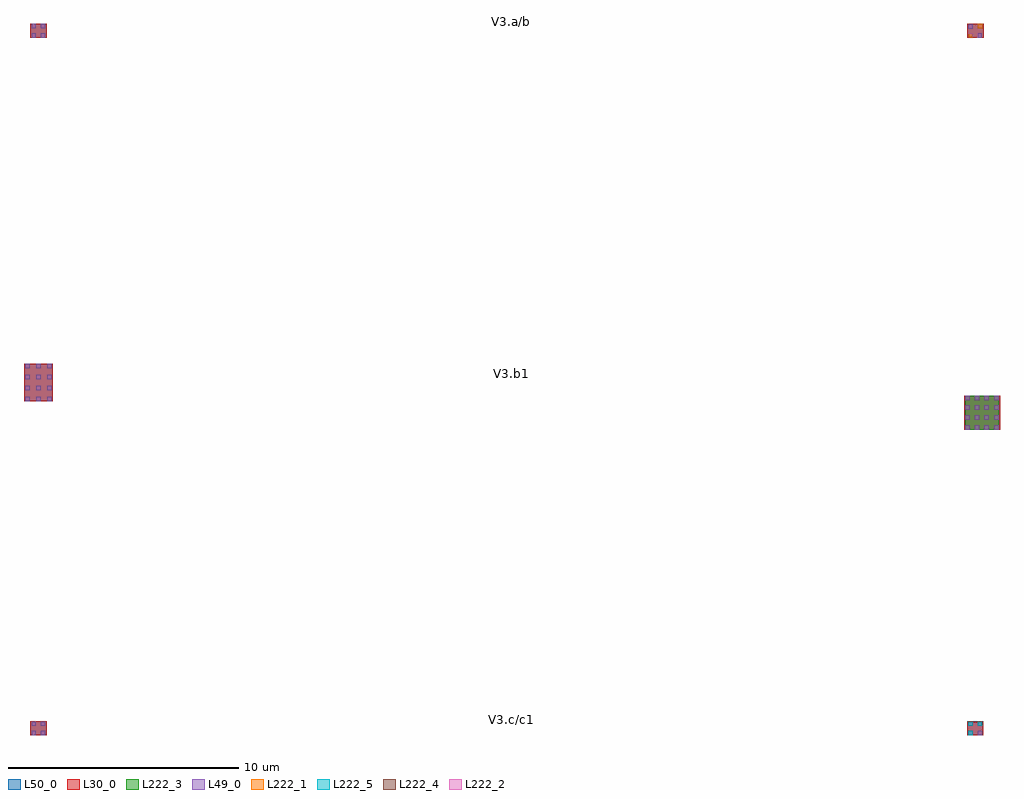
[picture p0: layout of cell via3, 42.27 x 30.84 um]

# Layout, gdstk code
import gdstk
lib = gdstk.Library(unit=1e-6, precision=1e-09)
def R(c, l, rs):  # rectangles x0, y0, x1, y1
    for r in rs: c.add(gdstk.rectangle(r[:2], r[2:], *l))
def A(c, l, x, y, w, h, nx, ny, dx, dy):  # array of equal rectangles
    R(c, l, [(x+i*dx, y+j*dy, x+i*dx+w, y+j*dy+h) for i in range(nx) for j in range(ny)])
def P(c, l, *ps):  # polygons
    for p in ps: c.add(gdstk.Polygon(p, *l))
L30_0 = (30, 0)
L49_0 = (49, 0)
L50_0 = (50, 0)
L222_1 = (222, 1)
L222_2 = (222, 2)
L222_3 = (222, 3)
L222_4 = (222, 4)
L222_5 = (222, 5)

via3 = lib.new_cell('via3')
R(via3, L30_0, [(-20.82,-38.155,-20.12,-37.545), (19.76,-38.155,20.455,-37.55), (19.625,-24.92,21.175,-23.435), (-21.095,-23.69,-19.845,-22.05), (-20.82,-7.945,-20.12,-7.335), (19.755,-7.945,20.47,-7.32)])
A(via3, L49_0, 19.675, -24.915, 0.19, 0.19, 3, 3, 0.41, 0.435)
A(via3, L49_0, 20.935, -24.915, 0.19, 0.19, 1, 3, 0, 0.435)
A(via3, L49_0, -21.045, -23.685, 0.19, 0.19, 3, 4, 0.48, 0.48)
A(via3, L49_0, 19.675, -23.63, 0.19, 0.19, 3, 1, 0.41, 0)
R(via3, L49_0, [(-20.77,-38.15,-20.58,-37.96), (-20.36,-38.15,-20.17,-37.96), (19.805,-38.15,19.995,-37.96), (20.215,-38.15,20.405,-37.96), (-20.77,-37.74,-20.58,-37.55), (-20.36,-37.74,-20.17,-37.55), (19.805,-37.74,19.995,-37.55), (20.215,-37.74,20.405,-37.55), (20.935,-23.63,21.125,-23.44), (-20.77,-7.94,-20.58,-7.75), (-20.36,-7.94,-20.17,-7.75), (20.205,-7.94,20.395,-7.75), (19.815,-7.925,19.995,-7.75), (19.805,-7.55,19.995,-7.36), (-20.77,-7.53,-20.58,-7.34), (-20.36,-7.53,-20.17,-7.34), (20.215,-7.53,20.42,-7.325)])
R(via3, L50_0, [(-20.82,-38.155,-20.12,-37.545), (19.76,-38.155,20.455,-37.545), (19.625,-24.92,21.175,-23.435), (-21.095,-23.69,-19.845,-22.05), (-20.82,-7.945,-20.12,-7.335), (19.755,-7.945,20.47,-7.32)])
R(via3, L222_1, [(19.815,-7.925,19.995,-7.75), (19.815,-7.925,19.995,-7.75), (20.215,-7.53,20.42,-7.325), (20.215,-7.53,20.42,-7.325)])
R(via3, L222_2, [(20.2,-7.94,20.21,-7.75), (19.99,-7.925,20,-7.75), (19.815,-7.755,19.995,-7.745), (19.805,-7.555,19.995,-7.545)])
A(via3, L222_3, 19.675, -24.915, 0.19, 0.19, 3, 2, 0.41, 1.285)
A(via3, L222_3, 20.935, -24.915, 0.19, 0.19, 1, 3, 0, 0.435)
R(via3, L222_3, [(19.675,-24.48,19.865,-24.29), (20.085,-24.48,20.275,-24.29), (20.085,-24.48,20.275,-24.29), (20.495,-24.48,20.685,-24.29), (20.495,-24.48,20.685,-24.29), (19.675,-24.045,19.865,-23.855), (20.085,-24.045,20.275,-23.855), (20.085,-24.045,20.275,-23.855), (20.495,-24.045,20.685,-23.855), (20.495,-24.045,20.685,-23.855), (20.935,-23.63,21.125,-23.44)])
P(via3, L222_3, [(19.865,-24.915),(19.865,-24.725),(19.675,-24.725),(19.675,-24.48),(19.865,-24.48),(19.865,-24.29),(19.675,-24.29),(19.675,-24.045),(19.865,-24.045),(19.865,-23.855),(19.675,-23.855),(19.675,-23.63),(19.865,-23.63),(19.865,-23.44),(20.085,-23.44),(20.085,-23.63),(20.275,-23.63),(20.275,-23.44),(20.495,-23.44),(20.495,-23.63),(20.685,-23.63),(20.685,-23.44),(20.935,-23.44),(20.935,-23.63),(21.125,-23.63),(21.125,-23.855),(20.935,-23.855),(20.935,-24.045),(21.125,-24.045),(21.125,-24.29),(20.935,-24.29),(20.935,-24.48),(21.125,-24.48),(21.125,-24.725),(20.935,-24.725),(20.935,-24.915),(20.685,-24.915),(20.685,-24.725),(20.495,-24.725),(20.495,-24.915),(20.275,-24.915),(20.275,-24.725),(20.085,-24.725),(20.085,-24.915)])
R(via3, L222_4, [(19.8,-37.555,20,-37.545), (19.805,-37.555,19.995,-37.545), (20.21,-37.555,20.41,-37.545), (20.215,-37.555,20.405,-37.545)])
R(via3, L222_5, [(19.805,-38.15,19.995,-37.96), (19.805,-37.74,19.995,-37.55), (20.215,-37.74,20.405,-37.55)])
via3.add(gdstk.Label('V3.a/b', (0,-7.245), layer=63, texttype=0))
via3.add(gdstk.Label('V3.b1', (0,-22.475), layer=63, texttype=0))
via3.add(gdstk.Label('V3.c/c1', (0,-37.455), layer=63, texttype=0))
via3.add(gdstk.Label('PASS', (-12,5), layer=63, texttype=0))
via3.add(gdstk.Label('FAIL', (12,5), layer=63, texttype=0))
via3.add(gdstk.Label('5.20 Vian', (0,21), layer=63, texttype=0))

lib.write_gds('via3.gds')
